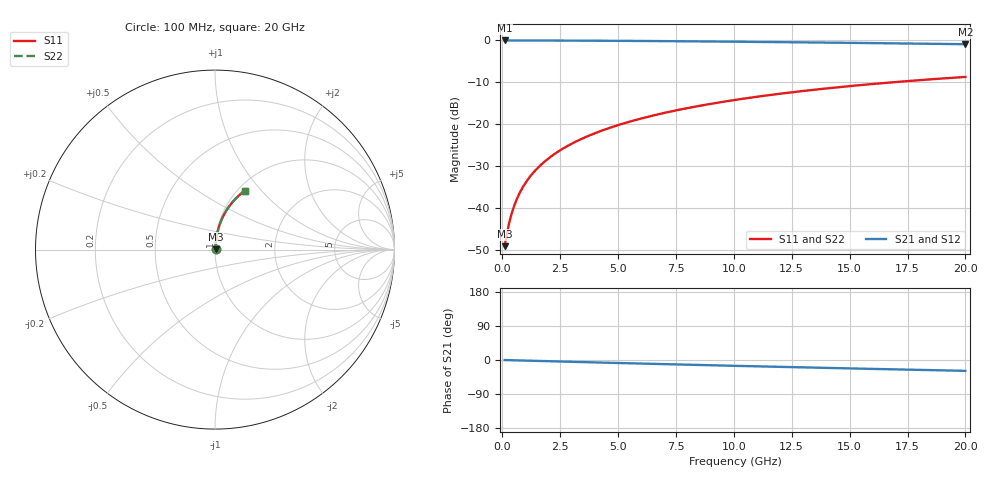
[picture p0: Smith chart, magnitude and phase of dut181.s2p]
! Touchstone file exported from HFSS 2024.1.0
!  File:  C:/UserFiles/LocalFiles/RDL_TSV_Batchsim/temp_RDL_bottom_181_1778698658.aedt
!  Generated:  03:00:21 AM May 14, 2026
!  Design:  RDL_bottom
!  Project:  temp_RDL_bottom_181_1778698658
!  Setup:  Setup1
!  Solution:  Sweep
! Variables:
!  dtsv = 10.80580581um
!  hbump = 3um
!  htsv = 69.61um
!  ldown = 308.73um
!  lrdl = 100um
!  p = 40
!  p1 = 55.83um
!  rhole = 1um
!  t = 450um
!  tdown = 3.27um
!  trdl = 3.915915916um
!  wdown = 12.11um
!  wrdl = 20um
# GHz S MA R 50.000000
! Terminal data exported
! Port[1] = RDL1_T1
! Port[2] = RDL1_T2
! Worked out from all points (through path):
!   200 points, 100 MHz to 20 GHz, reference 50 ohm
!   highest |S21| = -0.03 dB at 100 MHz (marker M1); lowest = -0.9 dB at 20 GHz (marker M2)
!   group delay of S21, straight-line fit = 3.97 ps
!   lowest |S11| = -49.1 dB at 100 MHz (marker M3), VSWR 1.01, Z = 50.3 + j0.202 ohm
!   |S11| at or under -10 dB: start of sweep to 16.85 GHz
!   |S22| runs from -49.1 to -8.7 dB; largest |S21 - S12| = 2.5e-15
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0.1  0.003526 34.7  0.9971 -0.2  0.9971 -0.2  0.003526 34.7
! Gamma 0 0 0 0
! Port Impedance 50 0 50 0
0.2  0.004971 53.8  0.9971 -0.3  0.9971 -0.3  0.004971 53.8
0.3  0.006705 63.4  0.997 -0.5  0.997 -0.5  0.006705 63.4
0.4  0.008541 68.9  0.9969 -0.7  0.9969 -0.7  0.008541 68.9
0.5  0.01042 72.4  0.9968 -0.8  0.9968 -0.8  0.01042 72.4
0.6  0.01231 74.7  0.9968 -1.0  0.9968 -1.0  0.01231 74.7
0.8  0.01612 77.8  0.9966 -1.3  0.9966 -1.3  0.01612 77.8
1.1  0.02187 80.2  0.9963 -1.8  0.9963 -1.8  0.02187 80.2
1.5  0.02958 81.8  0.9958 -2.4  0.9958 -2.4  0.02958 81.8
1.8  0.03538 82.5  0.9954 -2.9  0.9954 -2.9  0.03538 82.5
2.1  0.04119 82.9  0.9949 -3.4  0.9949 -3.4  0.04119 82.9
2.7  0.05285 83.1  0.9937 -4.3  0.9937 -4.3  0.05285 83.1
3.5  0.06843 82.9  0.9918 -5.6  0.9918 -5.6  0.06843 82.9
4.2  0.08208 82.5  0.9898 -6.7  0.9898 -6.7  0.08208 82.5
5  0.09768 81.8  0.9871 -7.9  0.9871 -7.9  0.09768 81.8
5.9  0.1152 81.0  0.9837 -9.3  0.9837 -9.3  0.1152 81.0
6.8  0.1327 80.0  0.9799 -10.6  0.9799 -10.6  0.1327 80.0
8.3  0.1617 78.2  0.9728 -12.9  0.9728 -12.9  0.1617 78.2
10.1  0.1959 75.9  0.9634 -15.5  0.9634 -15.5  0.1959 75.9
13.4  0.2566 71.6  0.9441 -20.0  0.9441 -20.0  0.2566 71.6
16.7  0.3137 67.3  0.9228 -24.4  0.9228 -24.4  0.3137 67.3
20  0.3667 63.2  0.9 -28.6  0.9 -28.6  0.3667 63.2
